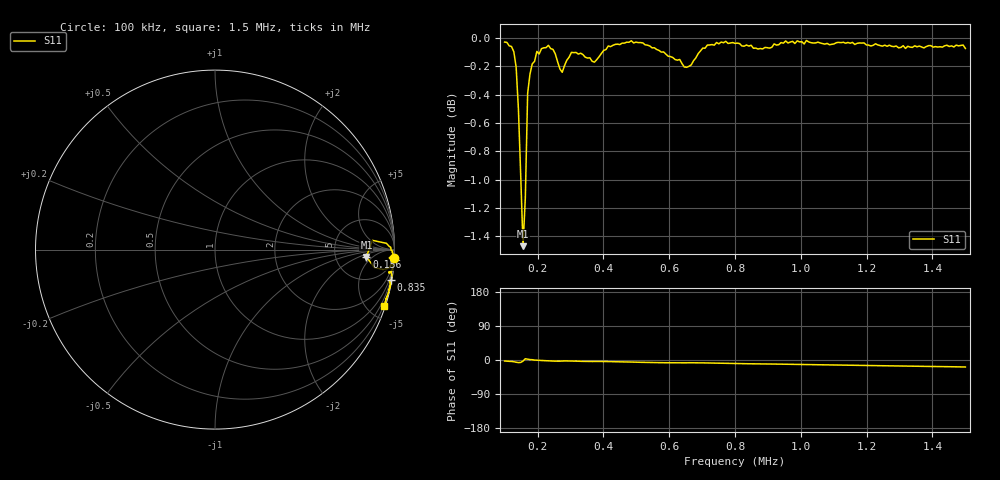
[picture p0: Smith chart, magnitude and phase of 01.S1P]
!Agilent Technologies,E5071C,MY46100305,A.07.02
!Date: Fri Jan 01 02:13:01 1988
!Data & Calibration Information:
!Freq	S11:SOLT1(ON)
# Hz S MA R 50
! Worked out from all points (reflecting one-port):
!   201 points, 100 kHz to 1.5 MHz, reference 50 ohm
!   lowest |S11| = -1.5 dB at 156 kHz (marker M1), VSWR 11.86, Z = 549 - j155 ohm
!   phase of S11 starts at -3 deg and turns -16 deg over the sweep
!   S11 on the Smith chart (normalised r, x): 100 kHz: 3, -43; 156 kHz: 11, -3; 835 kHz: 0, -12; 1.5 MHz: 0.17, -6.16
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100000  0.9966 -2.7
121000  0.993 -3.9
135000  0.9767 -5.9
142000  0.9437 -6.8
149000  0.8939 -6.4
156000  0.8445 -2.8
163000  0.8786 3.4
170000  0.956 2.1
177000  0.9709 1.0
184000  0.9792 0.8
191000  0.9811 -0.2
233000  0.994 -2.2
254000  0.9871 -3.1
275000  0.9725 -2.7
303000  0.9883 -2.8
373000  0.9805 -3.8
450000  0.9946 -4.8
555000  0.992 -6.9
625000  0.9821 -7.5
653000  0.9764 -7.5
681000  0.9839 -7.2
716000  0.9942 -7.8
800000  0.9956 -9.4
835000  0.9942 -9.8
975000  0.9972 -11.4
1150000  0.9957 -13.9
1325000  0.9932 -16.2
1500000  0.9915 -18.4
